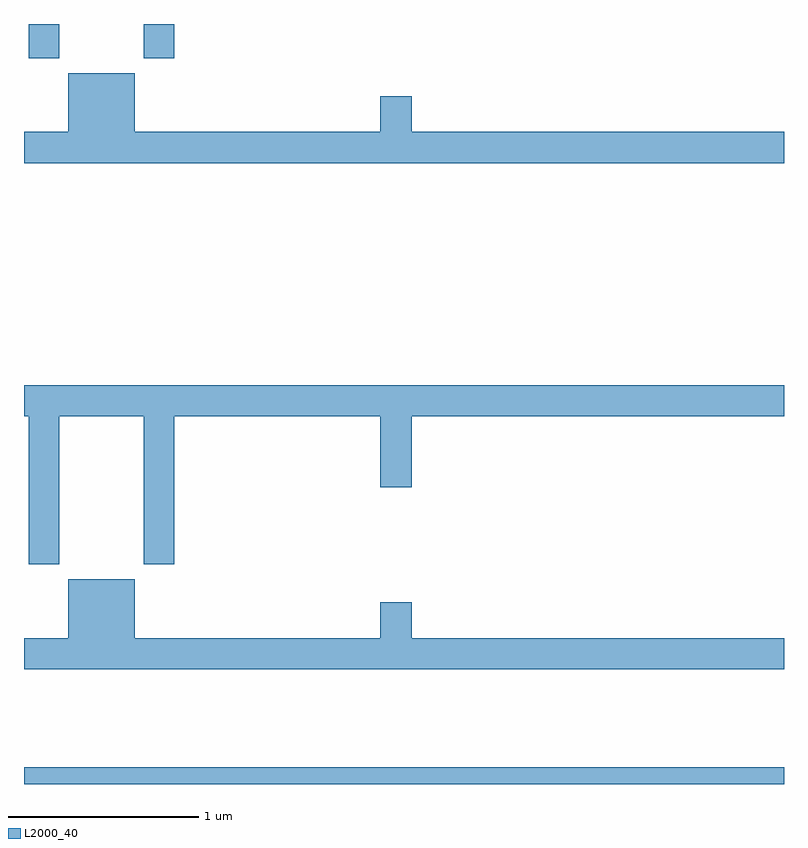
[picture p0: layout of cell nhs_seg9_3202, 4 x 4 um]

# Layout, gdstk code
import gdstk
lib = gdstk.Library(unit=1e-6, precision=1e-09)
def R(c, l, rs):  # rectangles x0, y0, x1, y1
    for r in rs: c.add(gdstk.rectangle(r[:2], r[2:], *l))
def P(c, l, *ps):  # polygons
    for p in ps: c.add(gdstk.Polygon(p, *l))
L2000_40 = (2000, 40)

nhs_seg9_3202 = lib.new_cell('nhs_seg9_3202')
R(nhs_seg9_3202, L2000_40, [(295,1178.5,299,1178.588), (295.025,1182.321,295.185,1182.5), (295.63,1182.321,295.79,1182.5)])
P(nhs_seg9_3202, L2000_40, [(299,1181.932),(297.04,1181.932),(297.04,1182.121),(296.876,1182.121),(296.876,1181.932),(295.582,1181.932),(295.582,1182.241),(295.232,1182.241),(295.232,1181.932),(295,1181.932),(295,1181.768),(299,1181.768)],
  [(295.185,1180.436),(295.63,1180.436),(295.63,1179.657),(295.79,1179.657),(295.79,1180.436),(296.876,1180.436),(296.876,1180.062),(297.04,1180.062),(297.04,1180.436),(299,1180.436),(299,1180.6),(295,1180.6),(295,1180.436),(295.025,1180.436),(295.025,1179.657),(295.185,1179.657)],
  [(299,1179.268),(297.04,1179.268),(297.04,1179.457),(296.876,1179.457),(296.876,1179.268),(295.582,1179.268),(295.582,1179.577),(295.232,1179.577),(295.232,1179.268),(295,1179.268),(295,1179.104),(299,1179.104)])

lib.write_gds('nhs_seg9_3202.gds')
